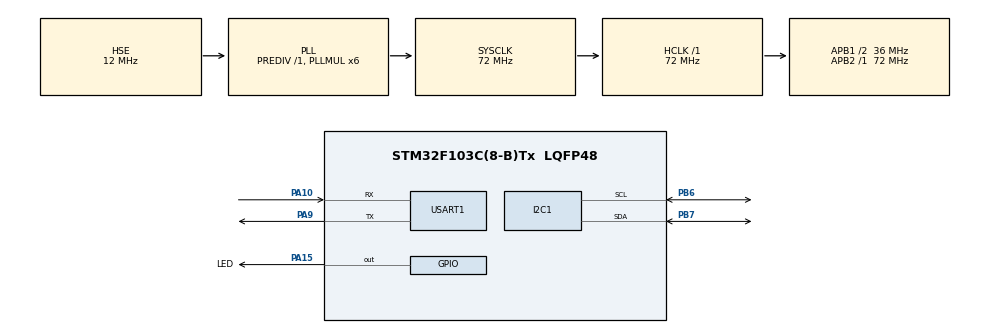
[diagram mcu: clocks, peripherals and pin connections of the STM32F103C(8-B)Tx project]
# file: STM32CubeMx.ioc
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Mcu.Family=STM32F1
Mcu.Name=STM32F103C(8-B)Tx
Mcu.Package=LQFP48
NVIC.PriorityGroup=NVIC_PRIORITYGROUP_4
PA10.Mode=Asynchronous
PA10.Signal=USART1_RX
PA13.Mode=Serial_Wire
PA13.Signal=SYS_JTMS-SWDIO
PA14.Mode=Serial_Wire
PA14.Signal=SYS_JTCK-SWCLK
PA15.GPIO_Label=LED
PA15.Signal=GPIO_Output
PA9.Mode=Asynchronous
PA9.Signal=USART1_TX
PB6.Mode=I2C
PB6.Signal=I2C1_SCL
PB7.Mode=I2C
PB7.Signal=I2C1_SDA
PC14-OSC32_IN.Mode=LSE-External-Oscillator
PC14-OSC32_IN.Signal=RCC_OSC32_IN
PC15-OSC32_OUT.Mode=LSE-External-Oscillator
PC15-OSC32_OUT.Signal=RCC_OSC32_OUT
PD0-OSC_IN.Mode=HSE-External-Oscillator
PD0-OSC_IN.Signal=RCC_OSC_IN
PD1-OSC_OUT.Mode=HSE-External-Oscillator
PD1-OSC_OUT.Signal=RCC_OSC_OUT
ProjectManager.HeapSize=0x200
ProjectManager.StackSize=0x400
ProjectManager.TargetToolchain=CMake
RCC.AHBFreq_Value=72000000
RCC.APB1CLKDivider=RCC_HCLK_DIV2
RCC.APB1Freq_Value=36000000
RCC.APB1TimFreq_Value=72000000
RCC.APB2Freq_Value=72000000
RCC.APB2TimFreq_Value=72000000
RCC.HCLKFreq_Value=72000000
RCC.HSE_VALUE=12000000
RCC.PLLMUL=RCC_PLL_MUL6
RCC.PLLSourceVirtual=RCC_PLLSOURCE_HSE
RCC.RTCClockSelection=RCC_RTCCLKSOURCE_LSE
RCC.SYSCLKFreq_VALUE=72000000
RCC.SYSCLKSource=RCC_SYSCLKSOURCE_PLLCLK
RCC.USBFreq_Value=72000000
USART1.VirtualMode=VM_ASYNC
VP_RTC_No_RTC_Output.Mode=RTC_OUT_NO
VP_RTC_VS_RTC_Activate.Mode=RTC_Enabled
board=custom

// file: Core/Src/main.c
/* USER CODE BEGIN Header */
/**
  ******************************************************************************
  * @file           : main.c
  * @brief          : Main program body
  ******************************************************************************
  * @attention
  *
  * Copyright (c) 2026 STMicroelectronics.
  * All rights reserved.
  *
  * This software is licensed under terms that can be found in the LICENSE file
  * in the root directory of this software component.
  * If no LICENSE file comes with this software, it is provided AS-IS.
  *
  ******************************************************************************
  */
/* USER CODE END Header */
#include "main.h"

/* USER CODE BEGIN Includes */
#include "app_clock.h"
#include "app_cycle.h"
#include "env_config.h"
#include "st7032.h"
/* USER CODE END Includes */

I2C_HandleTypeDef hi2c1;

RTC_HandleTypeDef hrtc;

UART_HandleTypeDef huart1;

/* USER CODE BEGIN PV */
static uint8_t lse_ready;
static uint8_t rtc_ready;
/* USER CODE END PV */

void SystemClock_Config(void);
static void MX_GPIO_Init(void);
static void MX_I2C1_Init(void);
static void MX_RTC_Init(void);
static void MX_USART1_UART_Init(void);
/* USER CODE BEGIN PFP */
static HAL_StatusTypeDef RTC_EnableLSE(void);
static HAL_StatusTypeDef RTC_WaitWrite(void);
static uint32_t RTC_ReadCounter(void);
static HAL_StatusTypeDef RTC_ArmAlarm(uint32_t seconds);
/* USER CODE END PFP */

/* USER CODE BEGIN 0 */
static HAL_StatusTypeDef RTC_EnableLSE(void)
{
  RCC_PeriphCLKInitTypeDef periph_clk = {0};
  uint32_t tickstart;

  __HAL_RCC_PWR_CLK_ENABLE();
  SET_BIT(PWR->CR, PWR_CR_DBP);
  tickstart = HAL_GetTick();
  while (READ_BIT(PWR->CR, PWR_CR_DBP) == 0U)
  {
    if ((HAL_GetTick() - tickstart) > RCC_DBP_TIMEOUT_VALUE)
    {
      return HAL_TIMEOUT;
    }
  }

  if (__HAL_RCC_GET_FLAG(RCC_FLAG_LSERDY) == RESET)
  {
    __HAL_RCC_LSE_CONFIG(RCC_LSE_ON);
    tickstart = HAL_GetTick();
    while (__HAL_RCC_GET_FLAG(RCC_FLAG_LSERDY) == RESET)
    {
      if ((HAL_GetTick() - tickstart) > LSE_STARTUP_TIMEOUT)
      {
        return HAL_TIMEOUT;
      }
    }
  }

  periph_clk.PeriphClockSelection = RCC_PERIPHCLK_RTC;
  periph_clk.RTCClockSelection = RCC_RTCCLKSOURCE_LSE;
  return HAL_RCCEx_PeriphCLKConfig(&periph_clk);
}

static uint32_t RTC_ReadCounter(void)
{
  uint16_t high1;
  uint16_t high2;
  uint16_t low;

  high1 = (uint16_t)(hrtc.Instance->CNTH & RTC_CNTH_RTC_CNT);
  low = (uint16_t)(hrtc.Instance->CNTL & RTC_CNTL_RTC_CNT);
  high2 = (uint16_t)(hrtc.Instance->CNTH & RTC_CNTH_RTC_CNT);
  if (high1 != high2)
  {
    low = (uint16_t)(hrtc.Instance->CNTL & RTC_CNTL_RTC_CNT);
    return (((uint32_t)high2) << 16) | low;
  }
  return (((uint32_t)high1) << 16) | low;
}

static HAL_StatusTypeDef RTC_ArmAlarm(uint32_t seconds)
{
  uint32_t alarm;

  if (RTC_WaitWrite() != HAL_OK)
  {
    return HAL_TIMEOUT;
  }
  SET_BIT(hrtc.Instance->CRL, RTC_CRL_CNF);
  if (RTC_WaitWrite() != HAL_OK)
  {
    return HAL_TIMEOUT;
  }

  /* カウンタは 1 秒。次の測定まで止める。 */
  alarm = RTC_ReadCounter() + seconds;
  hrtc.Instance->ALRH = (uint16_t)(alarm >> 16);
  if (RTC_WaitWrite() != HAL_OK)
  {
    return HAL_TIMEOUT;
  }
  hrtc.Instance->ALRL = (uint16_t)(alarm & 0xFFFFU);
  if (RTC_WaitWrite() != HAL_OK)
  {
    return HAL_TIMEOUT;
  }
  CLEAR_BIT(hrtc.Instance->CRL, RTC_CRL_CNF);
  if (RTC_WaitWrite() != HAL_OK)
  {
    return HAL_TIMEOUT;
  }
  if ((hrtc.Instance->CRL & RTC_CRL_CNF) != 0U)
  {
    return HAL_ERROR;
  }

  hrtc.Instance->CRL &= (uint16_t)~RTC_FLAG_ALRAF;
  if (RTC_WaitWrite() != HAL_OK)
  {
    return HAL_TIMEOUT;
  }
  SET_BIT(hrtc.Instance->CRH, RTC_CRH_ALRIE);
  if (RTC_WaitWrite() != HAL_OK)
  {
    return HAL_TIMEOUT;
  }

  __HAL_RTC_ALARM_EXTI_ENABLE_RISING_EDGE();
  __HAL_RTC_ALARM_EXTI_ENABLE_IT();
  __HAL_RTC_ALARM_EXTI_CLEAR_FLAG();
  HAL_NVIC_ClearPendingIRQ(RTC_Alarm_IRQn);
  return HAL_OK;
}

static HAL_StatusTypeDef RTC_WaitWrite(void)
{
  uint32_t tickstart;

  tickstart = HAL_GetTick();
  while ((hrtc.Instance->CRL & RTC_CRL_RTOFF) == 0U)
  {
    if ((HAL_GetTick() - tickstart) > RTC_TIMEOUT_VALUE)
    {
      return HAL_TIMEOUT;
    }
  }
  return HAL_OK;
}
/* USER CODE END 0 */

int main(void)
{

  /* MCU Configuration--------------------------------------------------------*/

  /* Reset of all peripherals, Initializes the Flash interface and the Systick. */
  HAL_Init();

  /* Configure the system clock */
  SystemClock_Config();

  /* USER CODE BEGIN SysInit */
  if (RTC_EnableLSE() == HAL_OK)
  {
    lse_ready = 1U;
  }
  /* USER CODE END SysInit */

  /* Initialize all configured peripherals */
  MX_GPIO_Init();
  MX_I2C1_Init();
  MX_RTC_Init();
  MX_USART1_UART_Init();
  /* USER CODE BEGIN 2 */
  if (ST7032_Init(&hi2c1) != HAL_OK)
  {
    Error_Handler();
  }
  AppClock_SetHardwareReady(rtc_ready);
  if (rtc_ready != 0U)
  {
    HAL_NVIC_SetPriority(RTC_Alarm_IRQn, 0, 0);
    HAL_NVIC_EnableIRQ(RTC_Alarm_IRQn);
  }
  /* USER CODE END 2 */

  /* Infinite loop */
  while (1)
  {

    /* USER CODE BEGIN 3 */
    {
      uint32_t now_sec;

      if (rtc_ready != 0U)
      {
        now_sec = RTC_ReadCounter();
      }
      else
      {
        now_sec = HAL_GetTick() / 1000U;
      }

      App_MeasureOnce(&hi2c1, now_sec);

      if (rtc_ready != 0U)
      {
        if (RTC_ArmAlarm(MEASURE_INTERVAL_SEC) != HAL_OK)
        {
          HAL_Delay((uint32_t)MEASURE_INTERVAL_SEC * 1000U);
        }
        else
        {
          HAL_SuspendTick();
          HAL_PWR_EnterSTOPMode(PWR_LOWPOWERREGULATOR_ON, PWR_STOPENTRY_WFI);
          SystemClock_Config();
          HAL_ResumeTick();
        }
      }
      else
      {
        HAL_Delay((uint32_t)MEASURE_INTERVAL_SEC * 1000U);
      }
    }
  }
  /* USER CODE END 3 */
}

void SystemClock_Config(void)
{
  RCC_OscInitTypeDef RCC_OscInitStruct = {0};
  RCC_ClkInitTypeDef RCC_ClkInitStruct = {0};
  RCC_PeriphCLKInitTypeDef PeriphClkInit = {0};

  /** Initializes the RCC Oscillators according to the specified parameters
  * in the RCC_OscInitTypeDef structure.
  */
  RCC_OscInitStruct.OscillatorType = RCC_OSCILLATORTYPE_HSE|RCC_OSCILLATORTYPE_LSE;
  RCC_OscInitStruct.HSEState = RCC_HSE_ON;
  RCC_OscInitStruct.HSEPredivValue = RCC_HSE_PREDIV_DIV1;
  RCC_OscInitStruct.LSEState = RCC_LSE_ON;
  RCC_OscInitStruct.HSIState = RCC_HSI_ON;
  RCC_OscInitStruct.PLL.PLLState = RCC_PLL_ON;
  RCC_OscInitStruct.PLL.PLLSource = RCC_PLLSOURCE_HSE;
  RCC_OscInitStruct.PLL.PLLMUL = RCC_PLL_MUL6;
  if (HAL_RCC_OscConfig(&RCC_OscInitStruct) != HAL_OK)
  {
    Error_Handler();
  }

  /** Initializes the CPU, AHB and APB buses clocks
  */
  RCC_ClkInitStruct.ClockType = RCC_CLOCKTYPE_HCLK|RCC_CLOCKTYPE_SYSCLK
                              |RCC_CLOCKTYPE_PCLK1|RCC_CLOCKTYPE_PCLK2;
  RCC_ClkInitStruct.SYSCLKSource = RCC_SYSCLKSOURCE_PLLCLK;
  RCC_ClkInitStruct.AHBCLKDivider = RCC_SYSCLK_DIV1;
  RCC_ClkInitStruct.APB1CLKDivider = RCC_HCLK_DIV2;
  RCC_ClkInitStruct.APB2CLKDivider = RCC_HCLK_DIV1;

  if (HAL_RCC_ClockConfig(&RCC_ClkInitStruct, FLASH_LATENCY_2) != HAL_OK)
  {
    Error_Handler();
  }
  PeriphClkInit.PeriphClockSelection = RCC_PERIPHCLK_RTC;
  PeriphClkInit.RTCClockSelection = RCC_RTCCLKSOURCE_LSE;
  if (HAL_RCCEx_PeriphCLKConfig(&PeriphClkInit) != HAL_OK)
  {
    Error_Handler();
  }
}

static void MX_I2C1_Init(void)
{

  hi2c1.Instance = I2C1;
  hi2c1.Init.ClockSpeed = 100000;
  hi2c1.Init.DutyCycle = I2C_DUTYCYCLE_2;
  hi2c1.Init.OwnAddress1 = 0;
  hi2c1.Init.AddressingMode = I2C_ADDRESSINGMODE_7BIT;
  hi2c1.Init.DualAddressMode = I2C_DUALADDRESS_DISABLE;
  hi2c1.Init.OwnAddress2 = 0;
  hi2c1.Init.GeneralCallMode = I2C_GENERALCALL_DISABLE;
  hi2c1.Init.NoStretchMode = I2C_NOSTRETCH_DISABLE;
  if (HAL_I2C_Init(&hi2c1) != HAL_OK)
  {
    Error_Handler();
  }

}

static void MX_RTC_Init(void)
{

  /* USER CODE BEGIN RTC_Init 0 */
  if (lse_ready == 0U)
  {
    return;
  }
  /* USER CODE END RTC_Init 0 */

  RTC_TimeTypeDef sTime = {0};
  RTC_DateTypeDef DateToUpdate = {0};

  /** Initialize RTC Only
  */
  hrtc.Instance = RTC;
  hrtc.Init.AsynchPrediv = RTC_AUTO_1_SECOND;
  hrtc.Init.OutPut = RTC_OUTPUTSOURCE_NONE;
  if (HAL_RTC_Init(&hrtc) != HAL_OK)
  {
    Error_Handler();
  }

  /** Initialize RTC and set the Time and Date
  */
  sTime.Hours = 0x0;
  sTime.Minutes = 0x0;
  sTime.Seconds = 0x0;

  if (HAL_RTC_SetTime(&hrtc, &sTime, RTC_FORMAT_BCD) != HAL_OK)
  {
    Error_Handler();
  }
  DateToUpdate.WeekDay = RTC_WEEKDAY_MONDAY;
  DateToUpdate.Month = RTC_MONTH_JANUARY;
  DateToUpdate.Date = 0x1;
  DateToUpdate.Year = 0x0;

  if (HAL_RTC_SetDate(&hrtc, &DateToUpdate, RTC_FORMAT_BCD) != HAL_OK)
  {
    Error_Handler();
  }
  /* USER CODE BEGIN RTC_Init 2 */
  rtc_ready = 1U;
  /* USER CODE END RTC_Init 2 */

}

static void MX_USART1_UART_Init(void)
{

  huart1.Instance = USART1;
  huart1.Init.BaudRate = 115200;
  huart1.Init.WordLength = UART_WORDLENGTH_8B;
  huart1.Init.StopBits = UART_STOPBITS_1;
  huart1.Init.Parity = UART_PARITY_NONE;
  huart1.Init.Mode = UART_MODE_TX_RX;
  huart1.Init.HwFlowCtl = UART_HWCONTROL_NONE;
  huart1.Init.OverSampling = UART_OVERSAMPLING_16;
  if (HAL_UART_Init(&huart1) != HAL_OK)
  {
    Error_Handler();
  }

}

static void MX_GPIO_Init(void)
{
  GPIO_InitTypeDef GPIO_InitStruct = {0};

  /* GPIO Ports Clock Enable */
  __HAL_RCC_GPIOC_CLK_ENABLE();
  __HAL_RCC_GPIOD_CLK_ENABLE();
  __HAL_RCC_GPIOA_CLK_ENABLE();
  __HAL_RCC_GPIOB_CLK_ENABLE();

  /*Configure GPIO pin Output Level */
  HAL_GPIO_WritePin(LED_GPIO_Port, LED_Pin, GPIO_PIN_RESET);

  /*Configure GPIO pin : LED_Pin */
  GPIO_InitStruct.Pin = LED_Pin;
  GPIO_InitStruct.Mode = GPIO_MODE_OUTPUT_PP;
  GPIO_InitStruct.Pull = GPIO_NOPULL;
  GPIO_InitStruct.Speed = GPIO_SPEED_FREQ_LOW;
  HAL_GPIO_Init(LED_GPIO_Port, &GPIO_InitStruct);

  /* USER CODE BEGIN MX_GPIO_Init_2 */
  /* 異常時のみ点灯。起動直後は消灯。 */
  HAL_GPIO_WritePin(LED_GPIO_Port, LED_Pin, GPIO_PIN_SET);

  /* USER CODE END MX_GPIO_Init_2 */
}

void Error_Handler(void)
{
  __disable_irq();
  while (1)
  {
  }
}
